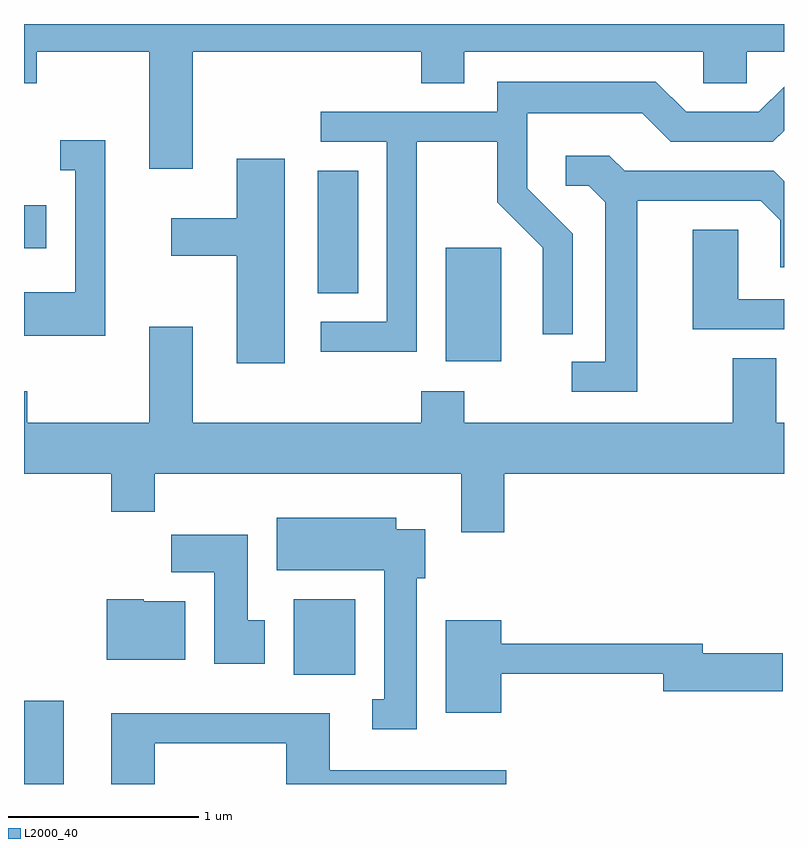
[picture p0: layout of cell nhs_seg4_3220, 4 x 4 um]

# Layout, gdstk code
import gdstk
lib = gdstk.Library(unit=1e-6, precision=1e-09)
def R(c, l, rs):  # rectangles x0, y0, x1, y1
    for r in rs: c.add(gdstk.rectangle(r[:2], r[2:], *l))
def P(c, l, *ps):  # polygons
    for p in ps: c.add(gdstk.Polygon(p, *l))
L2000_40 = (2000, 40)

nhs_seg4_3220 = lib.new_cell('nhs_seg4_3220')
R(nhs_seg4_3220, L2000_40, [(279.611,1301.982,279.819,1302.419), (281.031,1302.556,281.354,1302.954), (281.831,1304.206,282.124,1304.804), (281.156,1304.566,281.369,1305.209), (279.611,1304.801,279.729,1305.029)])
P(nhs_seg4_3220, L2000_40, [(280.499,1305.836),(281.701,1305.836),(281.701,1305.671),(281.929,1305.671),(281.929,1305.836),(283.186,1305.836),(283.186,1305.671),(283.414,1305.671),(283.414,1305.836),(283.611,1305.836),(283.611,1305.982),(279.611,1305.982),(279.611,1305.671),(279.679,1305.671),(279.679,1305.836),(280.271,1305.836),(280.271,1305.221),(280.499,1305.221)],
  [(281.679,1305.361),(282.101,1305.361),(282.101,1305.044),(282.341,1304.804),(282.341,1304.348),(282.499,1304.348),(282.499,1304.877),(282.259,1305.117),(282.259,1305.511),(282.864,1305.511),(283.014,1305.361),(283.552,1305.361),(283.611,1305.42),(283.611,1305.651),(283.479,1305.519),(283.097,1305.519),(282.937,1305.679),(282.101,1305.679),(282.101,1305.519),(281.173,1305.519),(281.173,1305.361),(281.521,1305.361),(281.521,1304.414),(281.173,1304.414),(281.173,1304.256),(281.679,1304.256)],
  [(280.039,1305.369),(279.803,1305.369),(279.803,1305.211),(279.881,1305.211),(279.881,1304.569),(279.611,1304.569),(279.611,1304.341),(280.039,1304.341)],
  [(282.839,1305.051),(283.489,1305.051),(283.591,1304.949),(283.591,1304.703),(283.611,1304.703),(283.611,1305.155),(283.557,1305.209),(282.772,1305.209),(282.692,1305.289),(282.463,1305.289),(282.463,1305.131),(282.584,1305.131),(282.671,1305.044),(282.671,1304.204),(282.493,1304.204),(282.493,1304.046),(282.839,1304.046)],
  [(280.984,1305.274),(280.731,1305.274),(280.731,1304.959),(280.386,1304.959),(280.386,1304.761),(280.731,1304.761),(280.731,1304.196),(280.984,1304.196)],
  [(283.611,1304.534),(283.369,1304.534),(283.369,1304.899),(283.131,1304.899),(283.131,1304.376),(283.611,1304.376)],
  [(282.139,1303.616),(283.611,1303.616),(283.611,1303.884),(283.569,1303.884),(283.569,1304.224),(283.341,1304.224),(283.341,1303.884),(281.929,1303.884),(281.929,1304.049),(281.701,1304.049),(281.701,1303.884),(280.499,1303.884),(280.499,1304.389),(280.271,1304.389),(280.271,1303.884),(279.629,1303.884),(279.629,1304.049),(279.611,1304.049),(279.611,1303.616),(280.071,1303.616),(280.071,1303.416),(280.299,1303.416),(280.299,1303.616),(281.911,1303.616),(281.911,1303.306),(282.139,1303.306)],
  [(281.679,1303.066),(281.724,1303.066),(281.724,1303.324),(281.569,1303.324),(281.569,1303.384),(280.941,1303.384),(280.941,1303.106),(281.506,1303.106),(281.506,1302.429),(281.443,1302.429),(281.443,1302.271),(281.679,1302.271)],
  [(280.879,1302.844),(280.789,1302.844),(280.789,1303.294),(280.386,1303.294),(280.386,1303.096),(280.611,1303.096),(280.611,1302.616),(280.879,1302.616)],
  [(280.459,1302.944),(280.24,1302.944),(280.24,1302.954),(280.046,1302.954),(280.046,1302.636),(280.459,1302.636)],
  [(282.124,1302.561),(282.976,1302.561),(282.976,1302.471),(283.604,1302.471),(283.604,1302.669),(283.184,1302.669),(283.184,1302.719),(282.124,1302.719),(282.124,1302.844),(281.831,1302.844),(281.831,1302.356),(282.124,1302.356)],
  [(280.299,1302.196),(280.991,1302.196),(280.991,1301.982),(282.148,1301.982),(282.148,1302.054),(281.219,1302.054),(281.219,1302.354),(280.071,1302.354),(280.071,1301.982),(280.299,1301.982)])

lib.write_gds('nhs_seg4_3220.gds')
